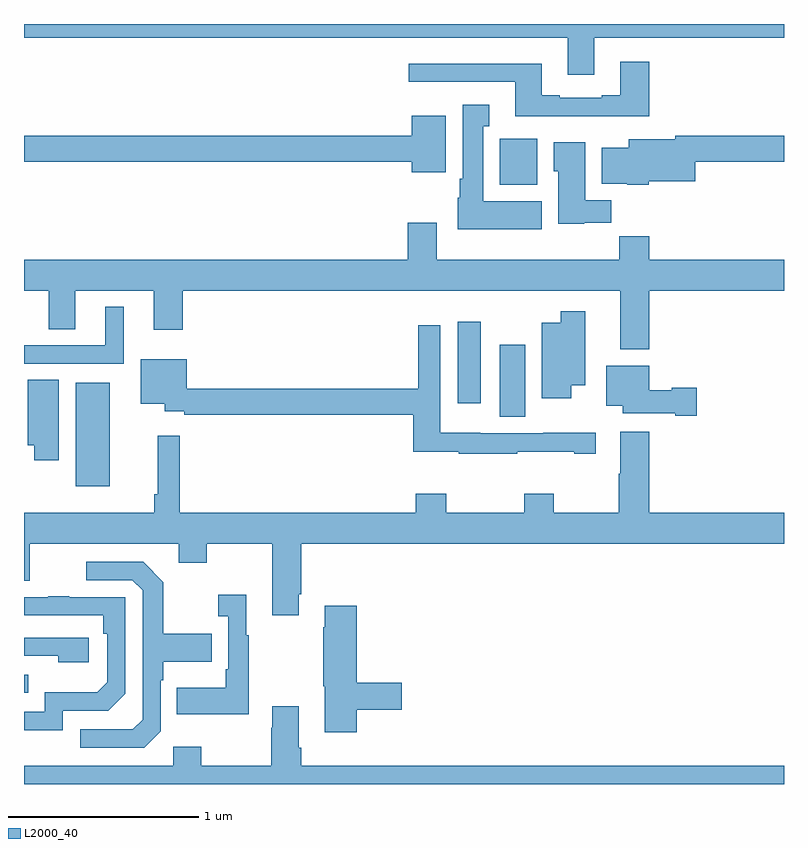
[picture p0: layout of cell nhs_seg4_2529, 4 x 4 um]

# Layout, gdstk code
import gdstk
lib = gdstk.Library(unit=1e-6, precision=1e-09)
def R(c, l, rs):  # rectangles x0, y0, x1, y1
    for r in rs: c.add(gdstk.rectangle(r[:2], r[2:], *l))
def P(c, l, *ps):  # polygons
    for p in ps: c.add(gdstk.Polygon(p, *l))
L2000_40 = (2000, 40)

nhs_seg4_2529 = lib.new_cell('nhs_seg4_2529')
R(nhs_seg4_2529, L2000_40, [(243,785.379,243.023,785.475), (243.272,786.467,243.451,787.012), (245.504,786.832,245.638,787.213), (245.282,786.903,245.404,787.333), (245.504,788.054,245.701,788.296)])
P(nhs_seg4_2529, L2000_40, [(246.001,788.828),(247,788.828),(247,788.9),(243,788.9),(243,788.828),(245.861,788.828),(245.861,788.634),(246.001,788.634)],
  [(246.29,788.701),(246.137,788.701),(246.137,788.524),(246.041,788.524),(246.041,788.511),(245.821,788.511),(245.821,788.524),(245.725,788.524),(245.725,788.692),(245.025,788.692),(245.025,788.595),(245.585,788.595),(245.585,788.414),(246.29,788.414)],
  [(245.725,787.966),(245.416,787.966),(245.416,788.363),(245.449,788.363),(245.449,788.476),(245.309,788.476),(245.309,788.086),(245.294,788.086),(245.294,787.986),(245.282,787.986),(245.282,787.82),(245.725,787.82)],
  [(245.221,788.416),(245.042,788.416),(245.042,788.312),(243,788.312),(243,788.176),(245.042,788.176),(245.042,788.12),(245.221,788.12)],
  [(246.288,788.072),(246.532,788.072),(246.532,788.176),(247,788.176),(247,788.312),(246.428,788.312),(246.428,788.293),(246.182,788.293),(246.182,788.248),(246.041,788.248),(246.041,788.06),(246.174,788.06),(246.174,788.054),(246.288,788.054)],
  [(245.949,787.854),(246.092,787.854),(246.092,787.972),(245.953,787.972),(245.953,788.278),(245.789,788.278),(245.789,788.124),(245.813,788.124),(245.813,787.85),(245.949,787.85)],
  [(246.29,787.496),(247,787.496),(247,787.66),(246.29,787.66),(246.29,787.784),(246.133,787.784),(246.133,787.66),(245.173,787.66),(245.173,787.855),(245.021,787.855),(245.021,787.66),(243,787.66),(243,787.496),(243.131,787.496),(243.131,787.294),(243.271,787.294),(243.271,787.496),(243.683,787.496),(243.683,787.29),(243.836,787.29),(243.836,787.496),(246.137,787.496),(246.137,787.187),(246.29,787.187)],
  [(243.526,787.411),(243.428,787.411),(243.428,787.209),(243,787.209),(243,787.113),(243.526,787.113)],
  [(245.881,786.998),(245.953,786.998),(245.953,787.387),(245.824,787.387),(245.824,787.327),(245.726,787.327),(245.726,786.93),(245.881,786.93)],
  [(245.597,786.649),(245.897,786.649),(245.897,786.639),(246.01,786.639),(246.01,786.749),(245.734,786.749),(245.734,786.747),(245.4,786.747),(245.4,786.748),(245.19,786.748),(245.19,787.315),(245.074,787.315),(245.074,786.98),(243.856,786.98),(243.856,787.135),(243.614,787.135),(243.614,786.902),(243.74,786.902),(243.74,786.863),(243.844,786.863),(243.844,786.844),(245.048,786.844),(245.048,786.649),(245.287,786.649),(245.287,786.639),(245.597,786.639)],
  [(246.541,786.986),(246.408,786.986),(246.408,786.973),(246.292,786.973),(246.292,787.102),(246.065,787.102),(246.065,786.89),(246.152,786.89),(246.152,786.851),(246.428,786.851),(246.428,786.839),(246.541,786.839)],
  [(243.184,787.028),(243.02,787.028),(243.02,786.683),(243.055,786.683),(243.055,786.603),(243.184,786.603)],
  [(244.447,785.899),(244.46,785.899),(244.46,786.164),(247,786.164),(247,786.328),(246.29,786.328),(246.29,786.754),(246.137,786.754),(246.137,786.533),(246.13,786.533),(246.13,786.328),(245.787,786.328),(245.787,786.427),(245.632,786.427),(245.632,786.328),(245.223,786.328),(245.223,786.427),(245.063,786.427),(245.063,786.328),(243.821,786.328),(243.821,786.733),(243.703,786.733),(243.703,786.424),(243.685,786.424),(243.685,786.328),(243,786.328),(243,785.97),(243.031,785.97),(243.031,786.164),(243.815,786.164),(243.815,786.065),(243.963,786.065),(243.963,786.164),(244.307,786.164),(244.307,785.787),(244.447,785.787)],
  [(243.72,785.178),(243.72,785.447),(243.733,785.447),(243.733,785.543),(243.989,785.543),(243.989,785.691),(243.733,785.691),(243.733,785.963),(243.627,786.069),(243.327,786.069),(243.327,785.973),(243.57,785.973),(243.624,785.919),(243.624,785.238),(243.573,785.187),(243.297,785.187),(243.297,785.091),(243.633,785.091)],
  [(244.183,785.683),(244.171,785.683),(244.171,785.896),(244.023,785.896),(244.023,785.783),(244.074,785.783),(244.074,785.503),(244.062,785.503),(244.062,785.407),(243.805,785.407),(243.805,785.267),(244.183,785.267)],
  [(243.204,785.286),(243.444,785.286),(243.534,785.376),(243.534,785.883),(243.239,785.883),(243.239,785.888),(243.127,785.888),(243.127,785.883),(243,785.883),(243,785.787),(243.418,785.787),(243.418,785.69),(243.438,785.69),(243.438,785.436),(243.385,785.383),(243.108,785.383),(243.108,785.28),(243,785.28),(243,785.184),(243.204,785.184)],
  [(244.751,785.29),(244.987,785.29),(244.987,785.432),(244.751,785.432),(244.751,785.839),(244.583,785.839),(244.583,785.726),(244.576,785.726),(244.576,785.415),(244.583,785.415),(244.583,785.172),(244.751,785.172)],
  [(243.34,785.67),(243,785.67),(243,785.574),(243.179,785.574),(243.179,785.54),(243.34,785.54)],
  [(244.447,785.092),(244.447,785.308),(244.307,785.308),(244.307,785.195),(244.3,785.195),(244.3,784.996),(243.933,784.996),(243.933,785.095),(243.786,785.095),(243.786,784.996),(243,784.996),(243,784.9),(247,784.9),(247,784.996),(244.46,784.996),(244.46,785.092)])

lib.write_gds('nhs_seg4_2529.gds')
